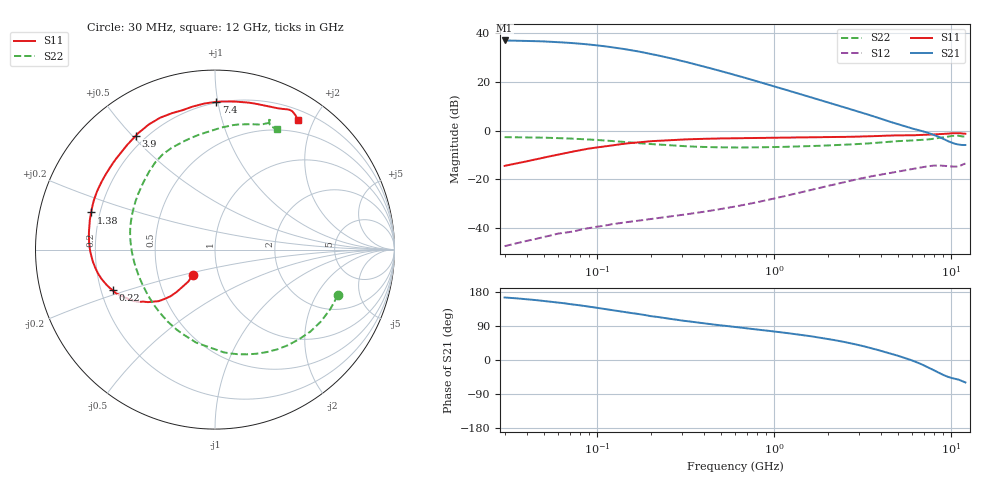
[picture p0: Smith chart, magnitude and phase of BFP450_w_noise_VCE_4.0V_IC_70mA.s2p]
! (c) 2015  Infineon Technologies AG, Munich
! Infineon Technologies  Discrete & RF Semiconductors
! BFP450
! VCE =  4.0 V,  IC =  70 mA
! Common Emitter S-Parameters:  Nov 2015
# GHz  S  MA  R  50
!  f  S11  S21  S12  S22
! GHz  MAG  ANG  MAG  ANG  MAG  ANG  MAG  ANG
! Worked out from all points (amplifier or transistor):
!   239 points, 30 MHz to 12 GHz, reference 50 ohm
!   highest |S21| = 37.0 dB at 30 MHz (marker M1)
!   |S21| within 3 dB of that: start of sweep to 127.1 MHz
!   unconditionally stable (mu >= 1): 1.034 GHz to end of sweep
!   at 300 MHz: K = 0.66, MSG = 31.6 dB, |S12| = -34.7 dB
!   at 1.88 GHz: K = 1.08, MAG = 15.9 dB, |S12| = -23.3 dB
!   at 12 GHz: K = 1.09, MAG = 2.0 dB, |S12| = -13.6 dB
!   lowest NFmin = 1.81 dB at 450 MHz
!   S11 on the Smith chart (normalised r, x): 30 MHz: 0.75, -0.22; 220 MHz: 0.25, -0.18; 1.38 GHz: 0.17, +0.14; 3.9 GHz: 0.16, +0.51; 7.4 GHz: 0.19, +0.99; 12 GHz: 0.33, +1.78
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0.03  0.1878 -131.3  70.9 165.0  0.0042 57.5  0.7302 -20.4
0.04  0.2327 -129.8  69.48 160.4  0.0054 59.6  0.723 -27.3
0.05  0.2788 -131.3  67.75 155.8  0.0065 58.8  0.7132 -34.2
0.06  0.3194 -132.2  65.51 151.9  0.0076 59.3  0.7009 -40.6
0.085  0.4102 -136.7  59.68 142.5  0.0095 57.2  0.6616 -55.4
0.11  0.4734 -141.8  53.95 134.6  0.0111 54.4  0.6245 -68.3
0.13  0.5147 -145.5  49.59 129.4  0.0123 53.1  0.5978 -77.3
0.15  0.5474 -149.1  45.67 124.8  0.0132 51.7  0.5743 -85.2
0.2  0.6028 -156.2  37.44 115.8  0.0152 50.4  0.5289 -101.4
0.22  0.6141 -158.3  35.01 113.5  0.0159 50.4  0.5142 -106.1
0.24  0.6262 -160.4  32.64 110.8  0.0166 50.3  0.5033 -111.1
0.3  0.653 -165.5  26.88 104.2  0.0184 50.5  0.48 -123.3
0.36  0.668 -169.3  22.82 99.6  0.0202 51.6  0.4654 -132.1
0.45  0.6827 -173.9  18.4 93.8  0.0229 53.0  0.4543 -142.5
0.6  0.6956 -179.3  13.78 87.0  0.0274 55.2  0.4486 -154.3
0.9  0.7082 172.9  9.016 77.7  0.0369 57.1  0.4536 -168.8
1.38  0.7207 163.3  5.685 67.0  0.0525 56.0  0.47 176.4
1.64  0.7272 158.7  4.718 62.1  0.0609 54.2  0.4796 170.3
3.9  0.7732 124.7  1.799 25.6  0.1223 30.1  0.564 131.5
4.5  0.7888 117.8  1.515 17.3  0.1342 24.2  0.5895 124.3
7.4  0.8232 89.5  0.892 -19.7  0.1849 -6.1  0.6558 94.1
12  0.8582 57.3  0.504 -59.2  0.2101 -40.3  0.7549 63.0
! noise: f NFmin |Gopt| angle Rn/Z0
0.45  1.81  0.59  -172  0.06
0.9  1.85  0.61  -167  0.07
1.9  1.95  0.64  -151  0.13
2.4  2.04  0.64  -142  0.18
